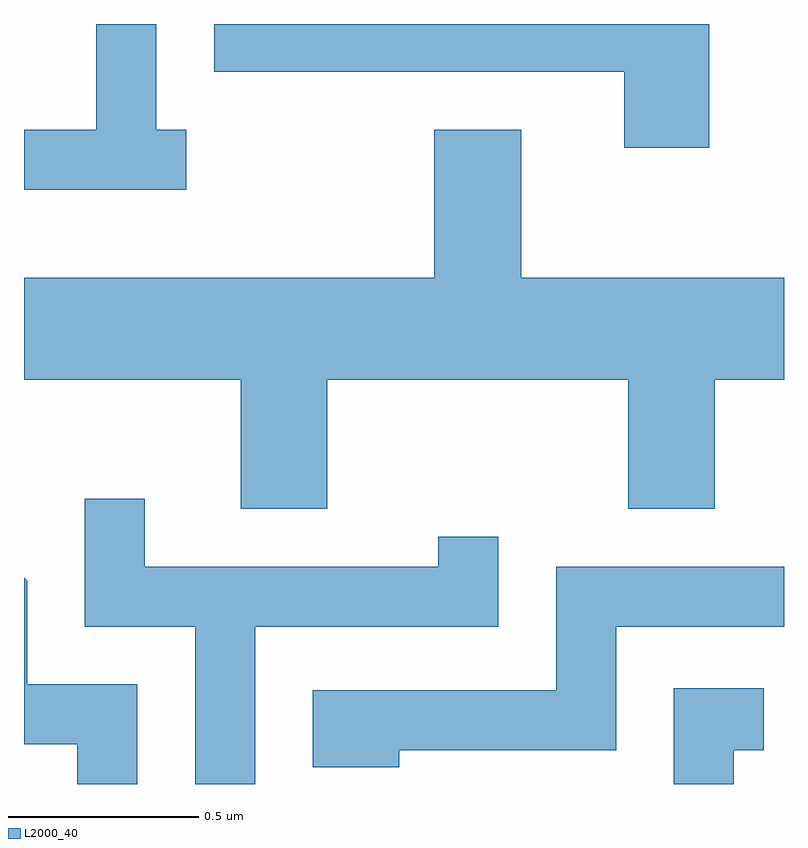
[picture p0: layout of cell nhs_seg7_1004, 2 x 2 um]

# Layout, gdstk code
import gdstk
lib = gdstk.Library(unit=1e-6, precision=1e-09)
def P(c, l, *ps):  # polygons
    for p in ps: c.add(gdstk.Polygon(p, *l))
L2000_40 = (2000, 40)

nhs_seg7_1004 = lib.new_cell('nhs_seg7_1004')
P(nhs_seg7_1004, L2000_40, [(194.414,1715.252),(193.111,1715.252),(193.111,1715.126),(194.191,1715.126),(194.191,1714.926),(194.414,1714.926)],
  [(193.038,1714.974),(192.959,1714.974),(192.959,1715.252),(192.801,1715.252),(192.801,1714.974),(192.611,1714.974),(192.611,1714.816),(193.038,1714.816)],
  [(193.409,1714.316),(194.201,1714.316),(194.201,1713.976),(194.429,1713.976),(194.429,1714.316),(194.611,1714.316),(194.611,1714.584),(193.919,1714.584),(193.919,1714.974),(193.691,1714.974),(193.691,1714.584),(192.611,1714.584),(192.611,1714.316),(193.181,1714.316),(193.181,1713.976),(193.409,1713.976)],
  [(193.219,1713.666),(193.859,1713.666),(193.859,1713.903),(193.701,1713.903),(193.701,1713.824),(192.929,1713.824),(192.929,1714.003),(192.771,1714.003),(192.771,1713.666),(193.061,1713.666),(193.061,1713.252),(193.219,1713.252)],
  [(193.599,1713.341),(194.169,1713.341),(194.169,1713.666),(194.611,1713.666),(194.611,1713.824),(194.011,1713.824),(194.011,1713.499),(193.371,1713.499),(193.371,1713.296),(193.599,1713.296)],
  [(192.909,1713.514),(192.619,1713.514),(192.619,1713.787),(192.611,1713.795),(192.611,1713.356),(192.751,1713.356),(192.751,1713.252),(192.909,1713.252)],
  [(194.479,1713.341),(194.558,1713.341),(194.558,1713.504),(194.321,1713.504),(194.321,1713.252),(194.479,1713.252)])

lib.write_gds('nhs_seg7_1004.gds')
